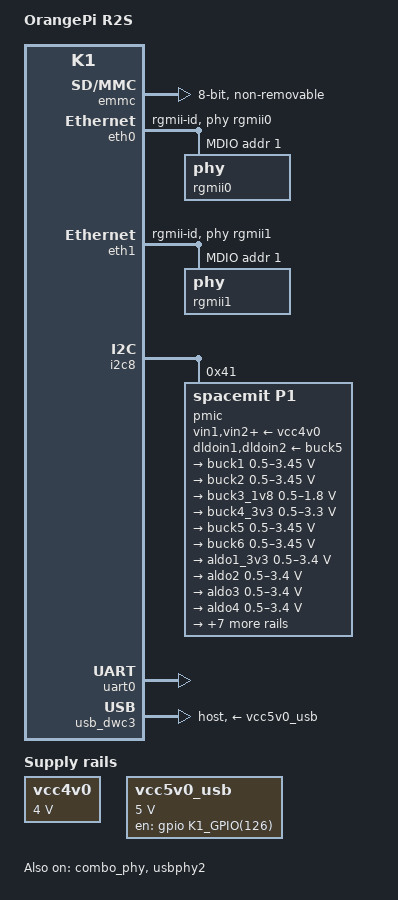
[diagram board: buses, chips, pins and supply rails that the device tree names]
// SPDX-License-Identifier: (GPL-2.0 OR MIT)
/*
 * Copyright (C) 2025 Michael Opdenacker <michael.opdenacker@rootcommit.com>
 */

/dts-v1/;

#include "k1.dtsi"
#include "k1-pinctrl.dtsi"

/ {
	model = "OrangePi R2S";
	compatible = "xunlong,orangepi-r2s", "spacemit,k1";

	aliases {
		i2c8 = &i2c8;
		serial0 = &uart0;
		ethernet0 = &eth0;
		ethernet1 = &eth1;
	};

	chosen {
		stdout-path = "serial0";
	};

	vcc4v0: regulator-vcc4v0 {
		compatible = "regulator-fixed";
		regulator-name = "vcc4v0";
		regulator-always-on;
		regulator-boot-on;
		regulator-min-microvolt = <4000000>;
		regulator-max-microvolt = <4000000>;
	};

	vcc5v0_usb: regulator-vcc5v0-usb {
		compatible = "regulator-fixed";
		enable-active-high;
		gpios = <&gpio K1_GPIO(126) GPIO_ACTIVE_HIGH>;
		regulator-name = "vcc5v0_usb";
		regulator-min-microvolt = <5000000>;
		regulator-max-microvolt = <5000000>;
	};
};

&combo_phy {
	status = "okay";
};

&emmc {
	bus-width = <8>;
	mmc-hs400-1_8v;
	mmc-hs400-enhanced-strobe;
	non-removable;
	no-sd;
	no-sdio;
	status = "okay";
};

&eth0 {
	phy-handle = <&rgmii0>;
	phy-mode = "rgmii-id";
	pinctrl-names = "default";
	pinctrl-0 = <&gmac0_cfg>;
	rx-internal-delay-ps = <0>;
	tx-internal-delay-ps = <0>;
	status = "okay";

	mdio-bus {
		#address-cells = <0x1>;
		#size-cells = <0x0>;

		reset-gpios = <&gpio K1_GPIO(110) GPIO_ACTIVE_LOW>;
		reset-delay-us = <10000>;
		reset-post-delay-us = <100000>;

		rgmii0: phy@1 {
			reg = <0x1>;
			motorcomm,auto-sleep-disabled;
		};
	};
};

&eth1 {
	phy-handle = <&rgmii1>;
	phy-mode = "rgmii-id";
	pinctrl-names = "default";
	pinctrl-0 = <&gmac1_cfg>;
	rx-internal-delay-ps = <0>;
	tx-internal-delay-ps = <250>;
	status = "okay";

	mdio-bus {
		#address-cells = <0x1>;
		#size-cells = <0x0>;

		reset-gpios = <&gpio K1_GPIO(115) GPIO_ACTIVE_LOW>;
		reset-delay-us = <10000>;
		reset-post-delay-us = <100000>;

		rgmii1: phy@1 {
			reg = <0x1>;
			motorcomm,auto-sleep-disabled;
		};
	};
};

&i2c8 {
	pinctrl-names = "default";
	pinctrl-0 = <&i2c8_cfg>;
	status = "okay";

	pmic@41 {
		compatible = "spacemit,p1";
		reg = <0x41>;
		interrupts = <64>;
		vin1-supply = <&vcc4v0>;
		vin2-supply = <&vcc4v0>;
		vin3-supply = <&vcc4v0>;
		vin4-supply = <&vcc4v0>;
		vin5-supply = <&vcc4v0>;
		vin6-supply = <&vcc4v0>;
		aldoin-supply = <&vcc4v0>;
		dldoin1-supply = <&buck5>;
		dldoin2-supply = <&buck5>;

		regulators {
			buck1 {
				regulator-min-microvolt = <500000>;
				regulator-max-microvolt = <3450000>;
				regulator-ramp-delay = <5000>;
				regulator-always-on;
			};

			buck2 {
				regulator-min-microvolt = <500000>;
				regulator-max-microvolt = <3450000>;
				regulator-ramp-delay = <5000>;
				regulator-always-on;
			};

			buck3_1v8: buck3 {
				regulator-min-microvolt = <500000>;
				regulator-max-microvolt = <1800000>;
				regulator-ramp-delay = <5000>;
				regulator-always-on;
			};

			buck4_3v3: buck4 {
				regulator-min-microvolt = <500000>;
				regulator-max-microvolt = <3300000>;
				regulator-ramp-delay = <5000>;
				regulator-always-on;
			};

			buck5: buck5 {
				regulator-min-microvolt = <500000>;
				regulator-max-microvolt = <3450000>;
				regulator-ramp-delay = <5000>;
				regulator-always-on;
			};

			buck6 {
				regulator-min-microvolt = <500000>;
				regulator-max-microvolt = <3450000>;
				regulator-ramp-delay = <5000>;
				regulator-always-on;
			};

			aldo1_3v3: aldo1 {
				regulator-min-microvolt = <500000>;
				regulator-max-microvolt = <3400000>;
				regulator-boot-on;
			};

			aldo2 {
				regulator-min-microvolt = <500000>;
				regulator-max-microvolt = <3400000>;
			};

			aldo3 {
				regulator-min-microvolt = <500000>;
				regulator-max-microvolt = <3400000>;
			};

			aldo4 {
				regulator-min-microvolt = <500000>;
				regulator-max-microvolt = <3400000>;
			};

			dldo1 {
				regulator-min-microvolt = <500000>;
				regulator-max-microvolt = <3400000>;
				regulator-boot-on;
			};

			dldo2 {
				regulator-min-microvolt = <500000>;
				regulator-max-microvolt = <3400000>;
			};

			dldo3 {
				regulator-min-microvolt = <500000>;
				regulator-max-microvolt = <3400000>;
			};

			dldo4 {
				regulator-min-microvolt = <500000>;
				regulator-max-microvolt = <3400000>;
				regulator-always-on;
			};

			dldo5 {
				regulator-min-microvolt = <500000>;
				regulator-max-microvolt = <3400000>;
			};

			dldo6 {
				regulator-min-microvolt = <500000>;
				regulator-max-microvolt = <3400000>;
				regulator-always-on;
			};

			dldo7 {
				regulator-min-microvolt = <500000>;
				regulator-max-microvolt = <3400000>;
			};
		};
	};
};

&pdma {
	status = "okay";
};

&uart0 {
	pinctrl-names = "default";
	pinctrl-0 = <&uart0_2_cfg>;
	status = "okay";
};

&usbphy2 {
	status = "okay";
};

&usb_dwc3 {
	dr_mode = "host";
	vbus-supply = <&vcc5v0_usb>;
	status = "okay";
};
